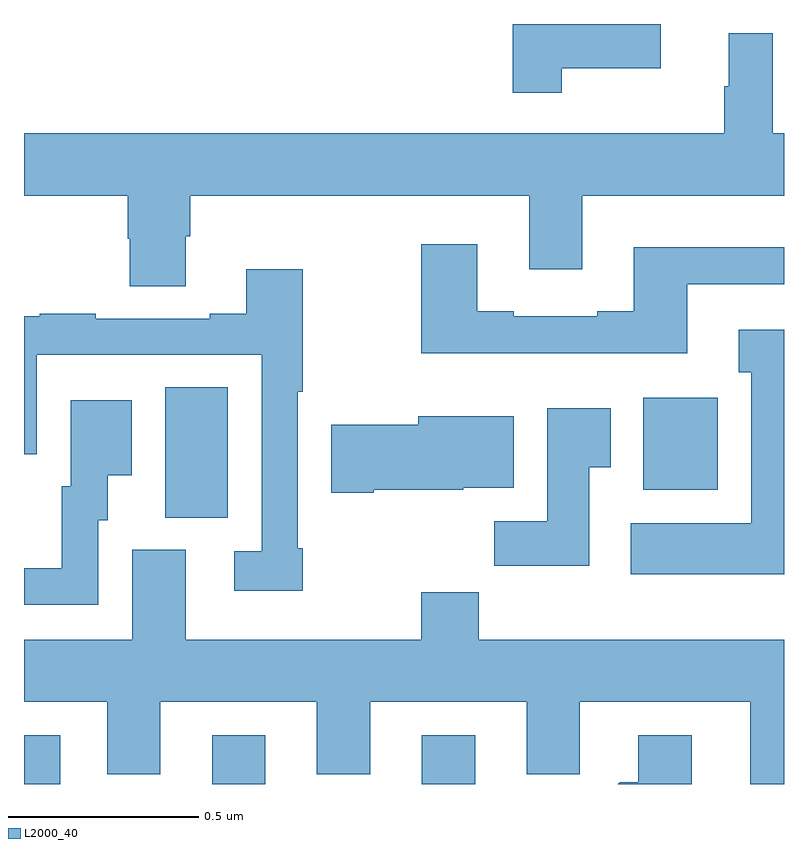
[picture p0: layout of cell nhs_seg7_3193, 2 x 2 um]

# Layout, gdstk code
import gdstk
lib = gdstk.Library(unit=1e-6, precision=1e-09)
def R(c, l, rs):  # rectangles x0, y0, x1, y1
    for r in rs: c.add(gdstk.rectangle(r[:2], r[2:], *l))
def P(c, l, *ps):  # polygons
    for p in ps: c.add(gdstk.Polygon(p, *l))
L2000_40 = (2000, 40)

nhs_seg7_3193 = lib.new_cell('nhs_seg7_3193')
R(nhs_seg7_3193, L2000_40, [(155,1067,155.095,1067.128), (155.495,1067,155.635,1067.128), (156.047,1067,156.187,1067.128), (155.372,1067.701,155.536,1068.044), (156.629,1067.774,156.826,1068.016)])
P(nhs_seg7_3193, L2000_40, [(156.415,1068.884),(156.676,1068.884),(156.676,1069),(156.286,1069),(156.286,1068.819),(156.415,1068.819)],
  [(155,1068.548),(155.273,1068.548),(155.273,1068.435),(155.278,1068.435),(155.278,1068.31),(155.425,1068.31),(155.425,1068.442),(155.438,1068.442),(155.438,1068.548),(156.329,1068.548),(156.329,1068.354),(156.469,1068.354),(156.469,1068.548),(157,1068.548),(157,1068.712),(156.971,1068.712),(156.971,1068.976),(156.854,1068.976),(156.854,1068.836),(156.843,1068.836),(156.843,1068.712),(155,1068.712)],
  [(156.745,1068.315),(157,1068.315),(157,1068.412),(156.605,1068.412),(156.605,1068.244),(156.509,1068.244),(156.509,1068.231),(156.289,1068.231),(156.289,1068.244),(156.193,1068.244),(156.193,1068.421),(156.046,1068.421),(156.046,1068.134),(156.745,1068.134)],
  [(155.734,1067.62),(155.721,1067.62),(155.721,1068.032),(155.734,1068.032),(155.734,1068.355),(155.585,1068.355),(155.585,1068.238),(155.489,1068.238),(155.489,1068.225),(155.189,1068.225),(155.189,1068.238),(155.041,1068.238),(155.041,1068.231),(155,1068.231),(155,1067.868),(155.034,1067.868),(155.034,1068.129),(155.625,1068.129),(155.625,1067.613),(155.553,1067.613),(155.553,1067.508),(155.734,1067.508)],
  [(157,1068.196),(156.881,1068.196),(156.881,1068.083),(156.914,1068.083),(156.914,1067.686),(156.597,1067.686),(156.597,1067.552),(157,1067.552)],
  [(155.196,1067.694),(155.221,1067.694),(155.221,1067.813),(155.284,1067.813),(155.284,1068.01),(155.123,1068.01),(155.123,1067.784),(155.099,1067.784),(155.099,1067.568),(155,1067.568),(155,1067.472),(155.196,1067.472)],
  [(156.487,1067.833),(156.544,1067.833),(156.544,1067.989),(156.377,1067.989),(156.377,1067.692),(156.238,1067.692),(156.238,1067.574),(156.487,1067.574)],
  [(155.92,1067.774),(156.156,1067.774),(156.156,1067.78),(156.289,1067.78),(156.289,1067.968),(156.038,1067.968),(156.038,1067.945),(155.808,1067.945),(155.808,1067.767),(155.92,1067.767)],
  [(157,1067.38),(156.197,1067.38),(156.197,1067.504),(156.046,1067.504),(156.046,1067.38),(155.425,1067.38),(155.425,1067.616),(155.285,1067.616),(155.285,1067.38),(155,1067.38),(155,1067.216),(155.219,1067.216),(155.219,1067.026),(155.359,1067.026),(155.359,1067.216),(155.771,1067.216),(155.771,1067.026),(155.911,1067.026),(155.911,1067.216),(156.323,1067.216),(156.323,1067.026),(156.462,1067.026),(156.462,1067.216),(156.911,1067.216),(156.911,1067),(157,1067)],
  [(156.757,1067.128),(156.617,1067.128),(156.617,1067.005),(156.568,1067.005),(156.563,1067),(156.757,1067)])

lib.write_gds('nhs_seg7_3193.gds')
